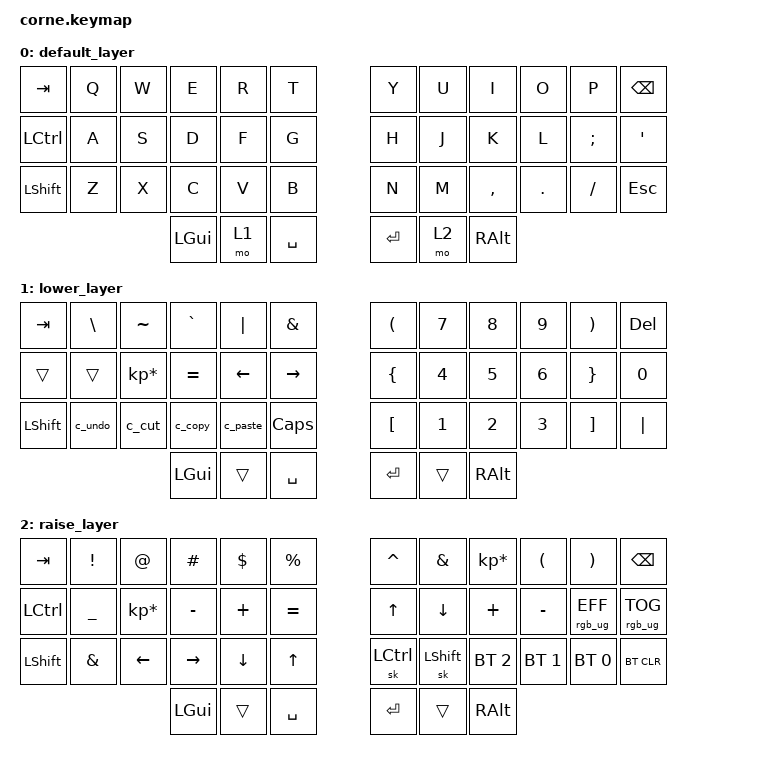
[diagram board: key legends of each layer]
/*
 * Copyright (c) 2020 The ZMK Contributors
 *
 * SPDX-License-Identifier: MIT
 */

#include <behaviors.dtsi>
#include <dt-bindings/zmk/keys.h>
#include <dt-bindings/zmk/bt.h>
#include <dt-bindings/zmk/rgb.h>

&sk {
    release-after-ms = <2000>;
    quick-release;
};

/ {

        macros {
                c_undo: c_undo {
                    compatible = "zmk,behavior-macro";
                    label = "new_macro_c_undo";
                    #binding-cells = <0>;
                    bindings =
                        <&macro_press &kp LCTRL>,
                        <&macro_tap &kp Z>,
                        <&macro_release &kp LCTRL>;
                };
                c_cut: c_cut {
                    compatible = "zmk,behavior-macro";
                    label = "new_macro_c_cut";
                    #binding-cells = <0>;
                    bindings = 
                        <&macro_press &kp LCTRL>,
                        <&macro_tap &kp X>,
                        <&macro_release &kp LCTRL>;
                };
                c_copy: c_copy {
                    compatible = "zmk,behavior-macro";
                    label = "new_macro_c_copy";
                    #binding-cells = <0>;
                    bindings = 
                        <&macro_press &kp LCTRL>,
                        <&macro_tap &kp C>,
                        <&macro_release &kp LCTRL>;
                };
                c_paste: c_paste {
                    compatible = "zmk,behavior-macro";
                    label = "new_macro_c_paste";
                    #binding-cells = <0>;
                    bindings = 
                        <&macro_press &kp LCTRL>,
                        <&macro_tap &kp V>,
                        <&macro_release &kp LCTRL>;
                };
            };

        keymap {
                compatible = "zmk,keymap";

                default_layer {
// -----------------------------------------------------------------------------------------
// |  TAB |  Q  |  W  |  E  |  R  |  T  |   |  Y  |  U   |  I  |  O  |  P  | BKSP |
// | CTRL |  A  |  S  |  D  |  F  |  G  |   |  H  |  J   |  K  |  L  |  ;  |  '   |
// | SHFT |  Z  |  X  |  C  |  V  |  B  |   |  N  |  M   |  ,  |  .  |  /  | ESC  |
//                    | GUI | LWR | SPC |   | ENT | RSE  | ALT |
                        bindings = <
   &kp TAB   &kp Q &kp W &kp E &kp R &kp T   &kp Y &kp U  &kp I     &kp O   &kp P    &kp BSPC
   &kp LCTRL &kp A &kp S &kp D &kp F &kp G   &kp H &kp J  &kp K     &kp L   &kp SEMI &kp SQT
   &kp LSHFT &kp Z &kp X &kp C &kp V &kp B   &kp N &kp M  &kp COMMA &kp DOT &kp FSLH &kp ESC
                  &kp LGUI &mo 1 &kp SPACE   &kp RET &mo 2 &kp RALT
                        >;
                };
                lower_layer {
// -----------------------------------------------------------------------------------------
// |  TAB |   \    |   ~   |   `    |   "|"   |  &  |   |  (  |  7  |  8  |  9  |  )  | DEL  |
// |      |        |   *   |   =    |   LFT   | RGT |   |  {  |  4  |  5  |  6  |  }  |  0   |
// | SHFT | C_UNDO | C_CUT | C_COPY | C_PASTE | CAPS|   |  [  |  1  |  2  |  3  |  ]  | "|"  |
//                    | GUI |      | SPC |   | ENT |     | ALT |
                        bindings = <
   &kp TAB        &kp BSLH    &kp TILDE  &kp GRAVE       &kp PIPE        &kp AMPS             &kp LPAR    &kp N7      &kp N8     &kp N9    &kp RPAR  &kp DEL
   &trans         &trans      &kp KP_MULTIPLY  &kp EQUAL   &kp LEFT      &kp RIGHT            &kp LBRC    &kp N4      &kp N5     &kp N6    &kp RBRC  &kp N0
   &kp LSHFT      &c_undo     &c_cut     &c_copy         &c_paste        &kp CAPS             &kp LBKT    &kp N1      &kp N2     &kp N3    &kp RBKT  &kp PIPE
                          	         &kp LGUI        &trans          &kp SPACE            &kp RET     &trans      &kp RALT
                        >;
                };

                raise_layer {
// -----------------------------------------------------------------------------------------
// |  TAB |  !  |  @  |  #  |  $  |  %  |   |  ^  |  &  |  *  |  (  |   )   | BKSP  |
// | CTRL |  _  |  *  |  -  |  +  |  =  |   | UP  | DWN |  +  |  -  |RGB_EFF|RGB_TOG|
// | SHFT |  &  | LFT | RGT | DWN |  UP |   |SK_LC|SK_LS| BT3 | BT2 |  BT1  | BTCLR |
//                    | GUI |     | SPC |   | ENT |     | ALT |
                        bindings = <
   &kp  TAB   &kp EXCL    &kp AT              &kp HASH    &kp DLLR   &kp PRCNT    &kp CARET      &kp AMPS       &kp KP_MULTIPLY &kp LPAR      &kp RPAR         &kp BSPC
   &kp LCTRL  &kp UNDER   &kp KP_MULTIPLY     &kp MINUS   &kp PLUS   &kp EQUAL    &kp UP         &kp DOWN       &kp PLUS        &kp MINUS     &rgb_ug RGB_EFF  &rgb_ug RGB_TOG
   &kp LSHFT  &kp AMPS    &kp LEFT            &kp RIGHT   &kp DOWN   &kp UP       &sk LCTRL      &sk LSHFT      &bt BT_SEL 2    &bt BT_SEL 1  &bt BT_SEL 0     &bt BT_CLR
                    	                      &kp LGUI    &trans     &kp SPACE    &kp RET        &trans         &kp RALT
                        >;
                };
        };
};
